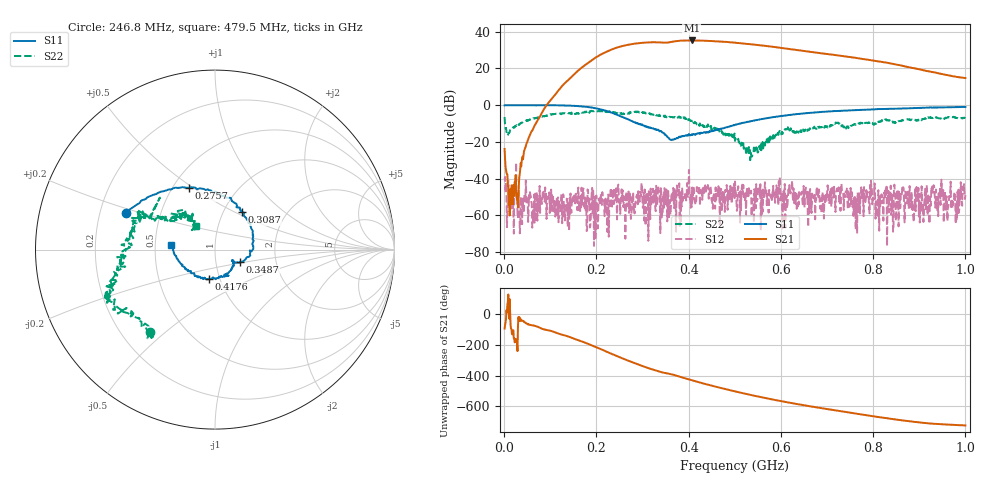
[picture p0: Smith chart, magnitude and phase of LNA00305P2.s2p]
! Created with skrf 1.9.0 (http://scikit-rf.org).
# Hz S RI R 50.0
!freq ReS11 ImS11 ReS21 ImS21 ReS12 ImS12 ReS22 ImS22
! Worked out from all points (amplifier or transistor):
!   1001 points, 1 MHz to 1 GHz, reference 50 ohm
!   highest |S21| = 35.2 dB at 406.6 MHz (marker M1)
!   |S21| within 3 dB of that: 257 MHz to 568 MHz (311.1 MHz wide, 75.4 % of centre)
!   unconditionally stable (mu >= 1): start of sweep to 84.76 MHz; 298.7 MHz to 400.1 MHz; 401.2 MHz to end of sweep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
!   at 166.8 MHz: K = 2.79, MAG = 30.5 dB, |S12| = -55.5 dB
!   at 500.5 MHz: K = 1.26, MAG = 34.7 dB, |S12| = -41.6 dB
!   at 1 GHz: K = 3.80, MAG = 23.1 dB, |S12| = -48.9 dB
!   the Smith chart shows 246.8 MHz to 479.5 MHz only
!   S11 on the Smith chart (normalised r, x): 246.8 MHz: 0.31, +0.18; 275.7 MHz: 0.60, +0.48; 308.7 MHz: 1.22, +0.55; 348.7 MHz: 1.31, -0.18; 417.6 MHz: 0.89, -0.29; 479.5 MHz: 0.61, +0.03
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1000000  0.9828 -0.00377  -0.00575 -0.0642  -0.00968 0.000275  0.3088 0.3633
1.08892e8  0.506 -0.8559  -0.8625 -1.613  -0.00207 0.00139  0.4241 -0.3841
1.67833e8  -0.2579 -0.887  -10.43 -0.3956  0.00182 -0.0054  0.0184 -0.6424
2.1079e8  -0.6844 -0.3348  -15.6 18.62  0.0011 0.00213  -0.2254 -0.6671
2.46754e8  -0.497 0.2015  4.057 37.4  -0.00556 -0.0031  -0.3638 -0.4565
2.75725e8  -0.1449 0.344  30.19 34.32  -0.000563 -0.000886  -0.5597 -0.3086
3.08692e8  0.1489 0.2096  49.48 10.99  -0.00103 -0.00207  -0.5734 -0.1947
3.34666e8  0.213 0.00413  49.91 -11.09  -0.00233 0.00491  -0.5018 -0.0577
3.48652e8  0.1403 -0.0672  46.24 -19.74  0.00144 -0.00167  -0.5214 0.027
3.75625e8  0.1031 -0.0757  41.08 -37.61  -0.000456 0.00404  -0.461 0.1601
4.06594e8  0.022 -0.152  19.7 -54.08  -0.0013 0.00108  -0.3298 0.1849
4.17583e8  -0.035 -0.1618  10.57 -56.11  0.0052 0.00285  -0.2587 0.1524
4.45555e8  -0.1494 -0.1131  -11.24 -54.6  0.00377 -0.000746  -0.1645 0.2126
4.79521e8  -0.2424 0.0254  -31.79 -42.09  0.0023 0.00442  -0.1066 0.1332
5.005e8  -0.2571 0.143  -39.79 -30.76  0.00812 0.00203  -0.067 0.0829
5.39461e8  -0.1803 0.3291  -43.78 -8.963  0.000857 -0.00209  -0.046 -0.0116
5.85415e8  0.011 0.4755  -36.67 11.15  0.00186 0.00311  -0.1045 -0.0588
6.25375e8  0.2025 0.5169  -25.33 20.65  0.00151 -0.00358  -0.1674 -0.1086
6.67333e8  0.4004 0.4805  -13.45 24.23  0.00157 -0.00363  -0.2263 -0.0573
7.55245e8  0.6752 0.265  4.288 19.32  0.0015 -0.000804  -0.288 0.0224
8.34166e8  0.7924 0.0155  10.34 9.342  4.47e-05 -0.00121  -0.3788 0.007
1e9  0.7254 -0.526  5.468 -0.2647  -0.0029 0.0021  -0.2879 0.3317
